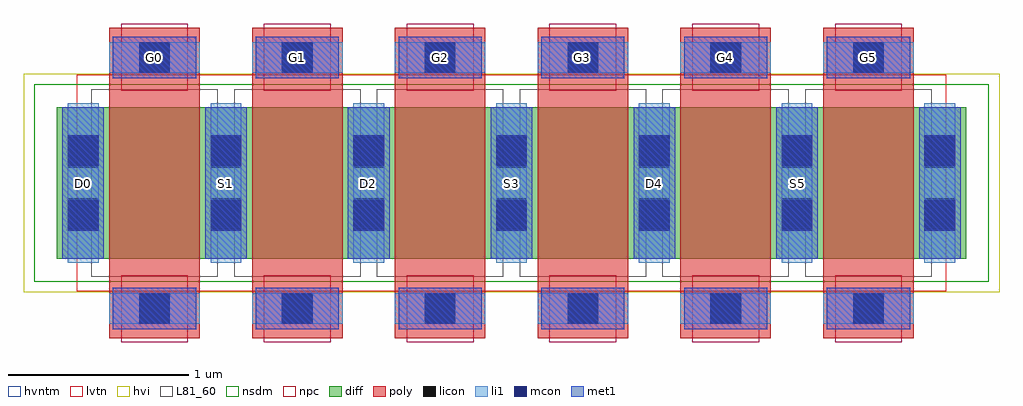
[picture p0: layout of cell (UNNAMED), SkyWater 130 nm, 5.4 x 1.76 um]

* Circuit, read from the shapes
.subckt (UNNAMED) D0 D2 D4 G0 G1 G2 G3 G4 G5 S1 S3 S5
XM1 S1 G0 D0 VSUBS sky130_fd_pr__nfet_05v0_nvt w=0.84 l=0.5
XM2 D2 G1 S1 VSUBS sky130_fd_pr__nfet_05v0_nvt w=0.84 l=0.5
XM3 S3 G2 D2 VSUBS sky130_fd_pr__nfet_05v0_nvt w=0.84 l=0.5
XM4 D4 G3 S3 VSUBS sky130_fd_pr__nfet_05v0_nvt w=0.84 l=0.5
XM5 S5 G4 D4 VSUBS sky130_fd_pr__nfet_05v0_nvt w=0.84 l=0.5
XM6 n1 G5 S5 VSUBS sky130_fd_pr__nfet_05v0_nvt w=0.84 l=0.5
.ends

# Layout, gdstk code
import gdstk
lib = gdstk.Library(unit=1e-6, precision=1e-09)
def R(c, l, rs):  # rectangles x0, y0, x1, y1
    for r in rs: c.add(gdstk.rectangle(r[:2], r[2:], *l))
def A(c, l, x, y, w, h, nx, ny, dx, dy):  # array of equal rectangles
    R(c, l, [(x+i*dx, y+j*dy, x+i*dx+w, y+j*dy+h) for i in range(nx) for j in range(ny)])
diff = (65, 20)
poly = (66, 20)
licon = (66, 44)
li1 = (67, 20)
mcon = (67, 44)
met1 = (68, 20)
hvi = (75, 20)
L81_60 = (81, 60)
nsdm = (93, 44)
npc = (95, 20)
hvntm = (125, 20)
lvtn = (125, 44)

c__unnamed_ = lib.new_cell('(UNNAMED)')
R(c__unnamed_, diff, [(-2.515,-0.42,2.515,0.42)])
A(c__unnamed_, poly, -2.225, -0.86, 0.5, 1.72, 6, 1, 0.79, 0)
A(c__unnamed_, licon, -2.06, -0.78, 0.17, 0.17, 6, 2, 0.79, 1.39)
A(c__unnamed_, licon, -2.455, -0.255, 0.17, 0.17, 7, 2, 0.79, 0.34)
A(c__unnamed_, li1, -2.225, -0.78, 0.5, 0.17, 6, 2, 0.79, 1.39)
A(c__unnamed_, li1, -2.455, -0.44, 0.17, 0.88, 7, 1, 0.79, 0)
A(c__unnamed_, mcon, -2.06, -0.78, 0.17, 0.17, 6, 2, 0.79, 1.39)
A(c__unnamed_, mcon, -2.455, -0.265, 0.17, 0.17, 7, 2, 0.79, 0.36)
A(c__unnamed_, met1, -2.205, -0.81, 0.46, 0.23, 6, 2, 0.79, 1.39)
A(c__unnamed_, met1, -2.485, -0.42, 0.23, 0.84, 7, 1, 0.79, 0)
R(c__unnamed_, hvi, [(-2.7,-0.605,2.7,0.605)])
A(c__unnamed_, L81_60, -2.325, -0.52, 0.7, 1.04, 6, 1, 0.79, 0)
R(c__unnamed_, nsdm, [(-2.64,-0.545,2.64,0.545)])
A(c__unnamed_, npc, -2.16, -0.88, 0.37, 0.37, 6, 2, 0.79, 1.39)
R(c__unnamed_, hvntm, [(-2.7,-0.605,2.7,0.605)])
R(c__unnamed_, lvtn, [(-2.405,-0.6,2.405,0.6)])
c__unnamed_.add(gdstk.Label('D0', (-2.37,0), layer=67, texttype=5))
c__unnamed_.add(gdstk.Label('G0', (-1.975,0.695), layer=67, texttype=5))
c__unnamed_.add(gdstk.Label('S1', (-1.58,0), layer=67, texttype=5))
c__unnamed_.add(gdstk.Label('G1', (-1.185,0.695), layer=67, texttype=5))
c__unnamed_.add(gdstk.Label('D2', (-0.79,0), layer=67, texttype=5))
c__unnamed_.add(gdstk.Label('G2', (-0.395,0.695), layer=67, texttype=5))
c__unnamed_.add(gdstk.Label('S3', (0,0), layer=67, texttype=5))
c__unnamed_.add(gdstk.Label('G3', (0.395,0.695), layer=67, texttype=5))
c__unnamed_.add(gdstk.Label('D4', (0.79,0), layer=67, texttype=5))
c__unnamed_.add(gdstk.Label('G4', (1.185,0.695), layer=67, texttype=5))
c__unnamed_.add(gdstk.Label('S5', (1.58,0), layer=67, texttype=5))
c__unnamed_.add(gdstk.Label('G5', (1.975,0.695), layer=67, texttype=5))

lib.write_gds('_UNNAMED_.gds')
